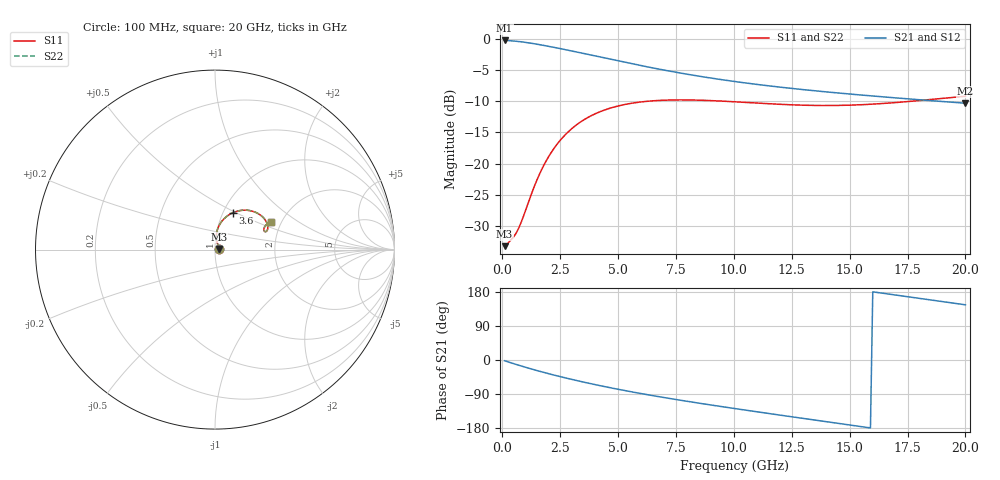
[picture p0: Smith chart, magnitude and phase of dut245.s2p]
! Touchstone file exported from HFSS 2024.1.0
!  File:  C:/UserFiles/LocalFiles/RDL_TSV_Batchsim/temp_RDL_TSV_245_1779455332.aedt
!  Generated:  09:27:23 PM May 22, 2026
!  Design:  RDL_TSV
!  Project:  temp_RDL_TSV_245_1779455332
!  Setup:  Setup1
!  Solution:  Sweep
! Variables:
!  dtsv = 12.34um
!  hbump = 3um
!  htsv = 62.17um
!  ldown = 686.33um
!  lrdl = 282.18um
!  p = 40
!  p1 = 59.14um
!  rhole = 10um
!  subl = 3187.71um
!  t = 450um
!  tdown = 2.12um
!  trdl = 4.62um
!  viad = 10um
!  wdown = 19.48um
!  wrdl = 23.1um
!  xbump = 18um
# GHz S MA R 50.000000
! Terminal data exported
! Port[1] = TM1_1_T1
! Port[2] = TM1_4_T1
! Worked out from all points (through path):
!   200 points, 100 MHz to 20 GHz, reference 50 ohm
!   highest |S21| = -0.19 dB at 100 MHz (marker M1); lowest = -10.3 dB at 20 GHz (marker M2)
!   group delay of S21, straight-line fit = 27.8 ps
!   lowest |S11| = -33.3 dB at 100 MHz (marker M3), VSWR 1.04, Z = 52.2 + j0.378 ohm
!   |S11| at or under -10 dB: start of sweep to 6.208 GHz; 9.73 GHz to 17.6 GHz (7.867 GHz wide, 57.6 % of centre)
!   |S22| runs from -33.3 to -9.2 dB; largest |S21 - S12| = 3.5e-14
!   S11 on the Smith chart (normalised r, x): 100 MHz: 1.04, +0.01; 3.6 GHz: 1.11, +0.48; 20 GHz: 1.78, +0.61
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0.1  0.02163 9.6  0.9781 -2.0  0.9781 -2.0  0.02163 9.6
! Gamma 0 0 0 0
! Port Impedance 50 0 50 0
0.5  0.02585 41.5  0.968 -9.8  0.968 -9.8  0.02584 41.5
0.7  0.02996 56.6  0.9596 -13.6  0.9596 -13.6  0.02996 56.7
1.1  0.04715 77.7  0.9382 -20.9  0.9382 -20.9  0.04718 77.7
1.5  0.07399 84.3  0.9126 -27.9  0.9126 -27.9  0.07407 84.4
1.8  0.09733 84.2  0.8918 -32.9  0.8918 -32.9  0.09744 84.3
2.1  0.1216 82.1  0.8703 -37.7  0.8703 -37.7  0.1218 82.1
2.7  0.169 75.3  0.8267 -46.8  0.8267 -46.8  0.1692 75.4
3.1  0.1978 70.2  0.7978 -52.6  0.7978 -52.6  0.198 70.3
3.5  0.2234 65.2  0.7693 -58.2  0.7693 -58.2  0.2237 65.2
3.6  0.2293 63.9  0.7623 -59.6  0.7623 -59.6  0.2296 64.0
4.3  0.2647 55.7  0.7147 -68.7  0.7147 -68.7  0.265 55.7
5.2  0.2963 46.5  0.6582 -79.6  0.6582 -79.6  0.2966 46.6
6  0.3132 39.7  0.6133 -88.7  0.6133 -88.7  0.3136 39.7
6.8  0.3221 34.1  0.5734 -97.2  0.5734 -97.2  0.3225 34.1
8.3  0.3242 26.2  0.5115 -112.1  0.5115 -112.1  0.3245 26.3
10.1  0.3135 21.0  0.4554 -128.7  0.4554 -128.7  0.3138 21.0
11.7  0.3015 19.5  0.4178 -142.9  0.4178 -142.9  0.3018 19.5
13.4  0.2936 20.4  0.3865 -157.7  0.3865 -157.7  0.2939 20.4
15  0.2949 22.6  0.3625 -171.5  0.3625 -171.5  0.2951 22.7
16.7  0.3066 24.9  0.3408 173.8  0.3408 173.8  0.3068 25.0
20  0.3479 25.8  0.3057 145.6  0.3057 145.6  0.3482 25.9
